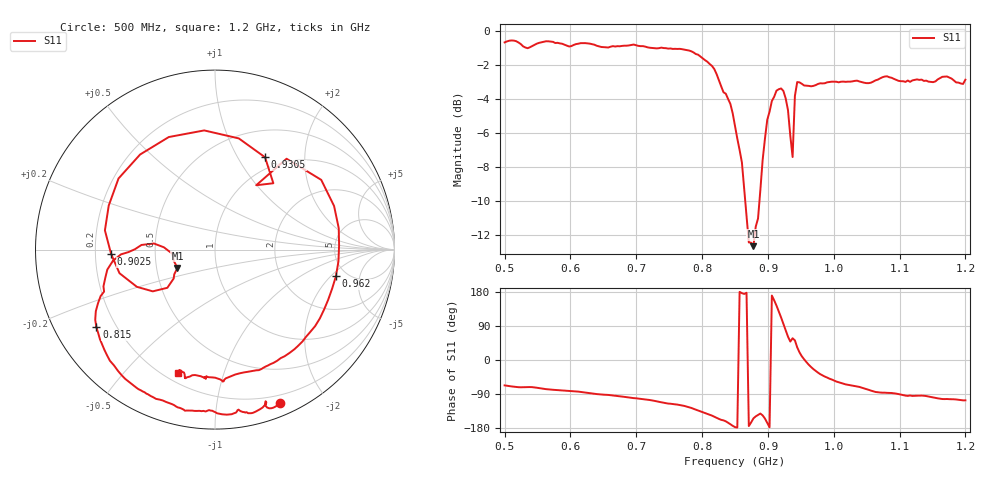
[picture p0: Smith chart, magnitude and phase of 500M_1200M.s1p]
# HZ S RI R 50
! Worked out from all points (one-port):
!   201 points, 500 MHz to 1.2 GHz, reference 50 ohm
!   lowest |S11| = -12.7 dB at 878 MHz (marker M1), VSWR 1.61, Z = 32.1 - j6.92 ohm
!   |S11| at or under -10 dB: 865.5 MHz to 887.2 MHz (21.67 MHz wide, 2.47 % of centre)
!   S11 on the Smith chart (normalised r, x): 500 MHz: 0.12, -1.50; 815 MHz: 0.13, -0.29; 902.5 MHz: 0.27, -0.02; 930.5 MHz: 0.84, +1.31; 962 MHz: 4.08, -2.31; 1.2 GHz: 0.25, -0.72
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5e8  0.3625 -0.8527
5.875e8  0.1552 -0.9047
6.75e8  -0.0868 -0.8983
7.625e8  -0.4119 -0.7847
7.835e8  -0.5181 -0.702
8.15e8  -0.6608 -0.433
8.43e8  -0.6 -0.1116
8.5e8  -0.5241 -0.0266
8.64e8  -0.3401 0.0339
8.71e8  -0.2375 -0.0234
8.78e8  -0.2091 -0.1018
8.92e8  -0.3468 -0.2326
9.025e8  -0.5786 -0.025
9.13e8  -0.5375 0.3963
9.2e8  -0.2575 0.6271
9.235e8  -0.0601 0.664
9.305e8  0.2789 0.5143
9.34e8  0.325 0.3697
9.375e8  0.2297 0.3586
9.41e8  0.3987 0.5063
9.445e8  0.5919 0.3885
9.48e8  0.6635 0.2429
9.62e8  0.6737 -0.1485
9.865e8  0.5069 -0.4861
1.025e9  0.2813 -0.6518
1.0635e9  0.0703 -0.7128
1.1125e9  -0.0589 -0.713
1.2e9  -0.2036 -0.69
